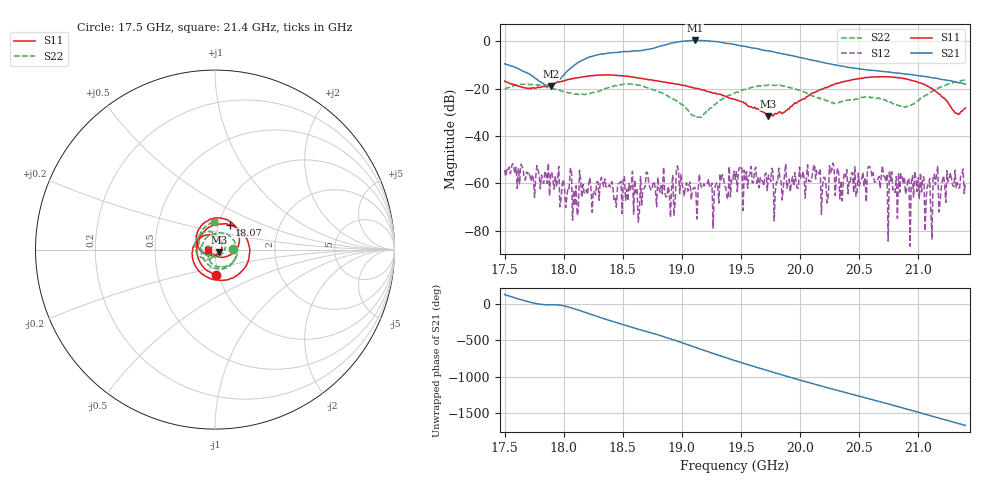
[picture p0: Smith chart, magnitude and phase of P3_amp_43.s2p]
!Created with skrf (http://scikit-rf.org).
# GHz S RI R 50.0
!freq ReS11 ImS11 ReS21 ImS21 ReS12 ImS12 ReS22 ImS22
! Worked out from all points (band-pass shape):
!   401 points, 17.5 GHz to 21.4 GHz, reference 50 ohm
!   highest |S21| = 0.40 dB at 19.11 GHz (marker M1); lowest = -19.0 dB at 17.89 GHz (marker M2)
!   |S21| within 3 dB of the highest: 18.78 GHz to 19.58 GHz (797.9 MHz wide, 4.16 % of centre)
!   lowest |S11| = -31.6 dB at 19.73 GHz (marker M3), VSWR 1.05, Z = 52.2 - j1.57 ohm
!   |S11| at or under -10 dB: start of sweep to end of sweep
!   |S22| runs from -32.4 to -16.2 dB; largest |S21 - S12| = 1
!   S11 on the Smith chart (normalised r, x): 17.5 GHz: 0.97, -0.29; 18.07 GHz: 1.13, +0.32; 21.4 GHz: 0.92, -0.00
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17.5  0.00808 -0.144  -0.2008 0.2693  -0.00183 0.000535  0.0977 0.00216
17.89  -0.0462 0.1164  0.1097 -0.0252  0.0014 0.000822  -0.000774 -0.1045
18.0655  0.0814 0.1392  0.1574 -0.2317  0.0016 0.00134  -0.073 -0.0352
18.09475  0.103 0.1298  0.1089 -0.3005  0.00028 -0.000185  -0.0737 -0.0191
18.15325  0.1423 0.1052  -0.0797 -0.387  0.000472 -0.000164  -0.0754 0.0196
18.319  0.1924 -0.0224  -0.5251 0.1219  0.00103 -0.000851  0.0109 0.0925
18.4945  0.112 -0.1492  0.1323 0.5906  -0.000148 -0.000175  0.1204 0.016
18.66025  -0.0216 -0.1624  0.6402 -0.0171  7.75e-05 0.00034  0.0676 -0.0917
18.8065  -0.1053 -0.0982  0.2744 -0.7293  0.000423 -0.000642  -0.00849 -0.0846
18.904  -0.1258 -0.0334  -0.4474 -0.7885  -5.27e-05 0.000183  -0.0323 -0.0563
18.99175  -0.1172 0.021  -0.9734 -0.205  -0.00131 0.000808  -0.0345 -0.0329
19.10875  -0.0748 0.0706  -0.615 0.8468  7.11e-05 0.000819  -0.0184 -0.0193
19.1965  -0.0393 0.0838  0.2318 1.008  -0.000629 0.000609  -0.00826 -0.0289
19.294  0.000408 0.0776  0.9033 0.3969  0.000679 0.000765  -0.02 -0.0447
19.45  0.0339 0.0487  0.4371 -0.7362  0.0012 0.000174  -0.0653 -0.0493
19.606  0.0379 0.0102  -0.5272 -0.4915  0.00103 0.000128  -0.1065 -0.00318
19.73275  0.0216 -0.015  -0.5995 0.2017  0.00136 -0.000621  -0.1039 0.0587
19.88875  -0.0134 -0.0323  0.0336 0.5193  -0.00053 -0.000579  -0.0434 0.1006
20.10325  -0.0795 -0.00696  0.3903 -0.0854  -0.00117 -0.00082  0.0141 0.0681
20.4445  -0.0737 0.1365  -0.2599 -0.0872  -0.001 0.00136  0.0172 0.0571
20.7565  0.0854 0.1549  0.0999 0.2007  0.000497 0.00179  0.0521 -0.00429
21.4  -0.0391 -0.00169  -0.0847 0.0921  -0.00105 -3.55e-05  -0.00798 0.1544
